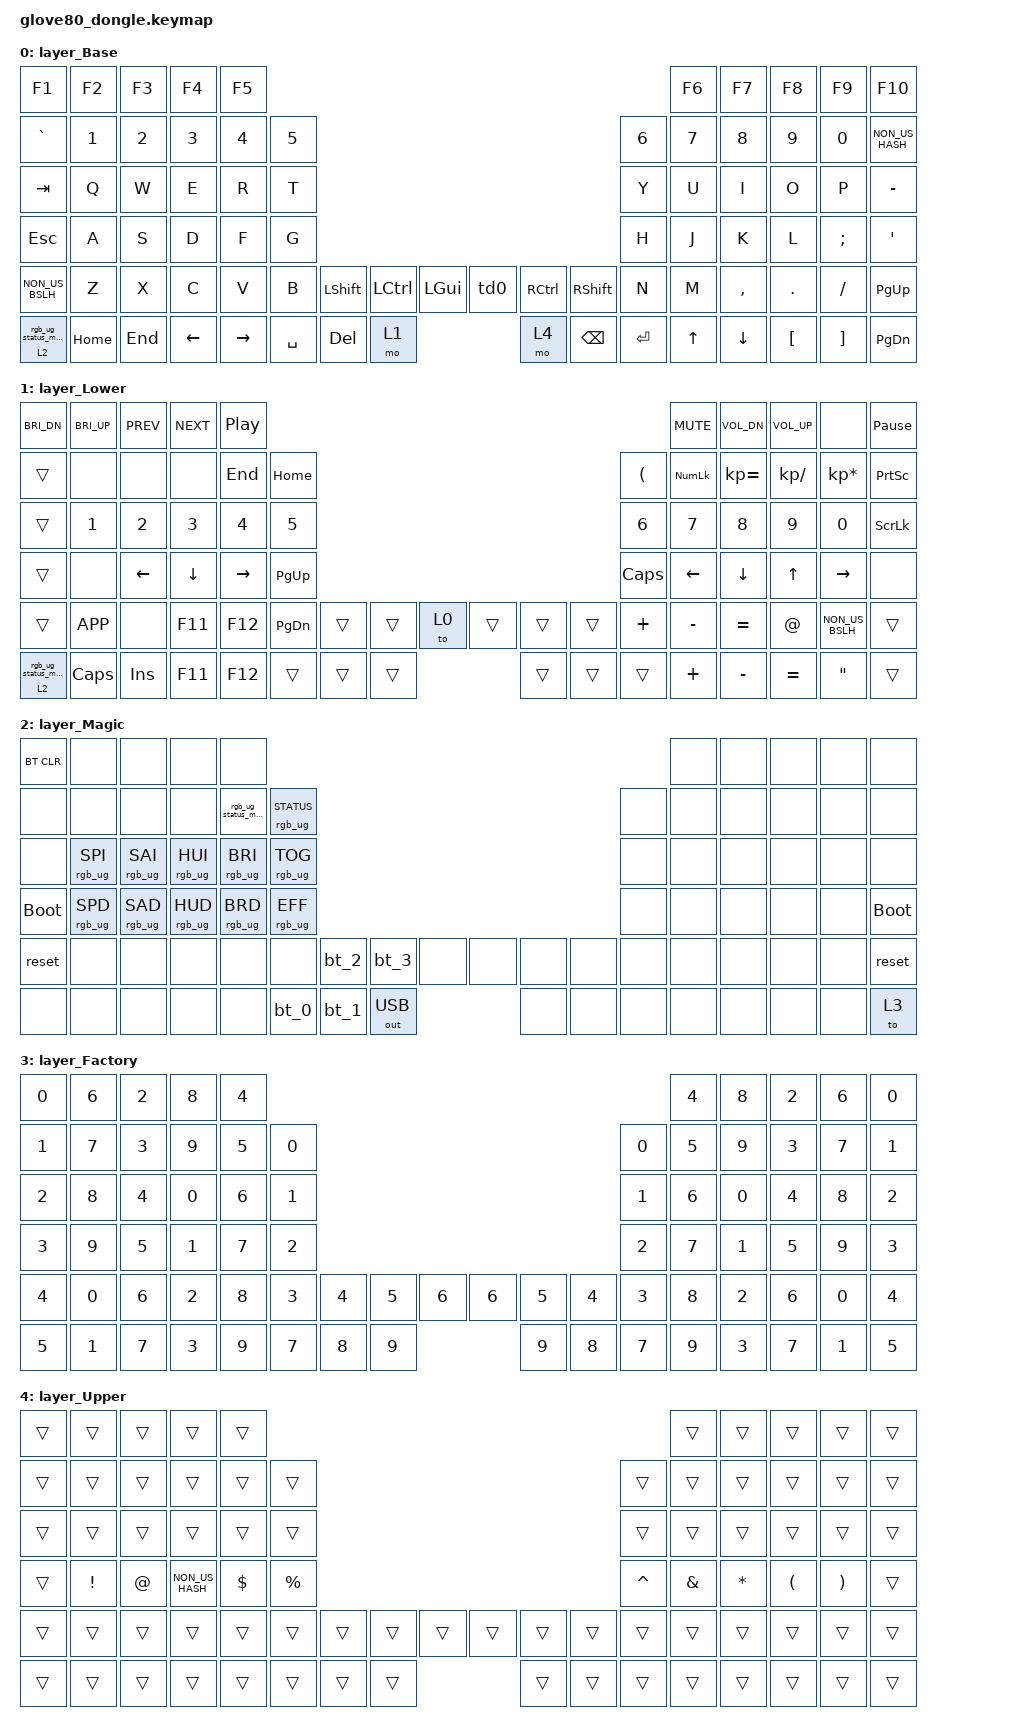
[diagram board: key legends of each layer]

/*
 * Copyright (c) 2020 The ZMK Contributors
 * Copyright (c) 2022 Innaworks Development Limited, trading as MoErgo
 *
 * SPDX-License-Identifier: MIT
 */


/* THIS FILE WAS GENERATED BY GLOVE80 LAYOUT EDITOR
 *
 * This file was generated automatically. You may or may not want to
 * edit it directly.
 */

#include <behaviors.dtsi>
/* Include all behaviour includes needed by system behaviors/macros */
#include <dt-bindings/zmk/outputs.h>

/* Include behaviour includes needed by key binds - automatically generated */
#include <dt-bindings/zmk/keys.h>
#include <dt-bindings/zmk/bt.h>
#include <dt-bindings/zmk/rgb.h>
#include <dt-bindings/zmk/outputs.h>


/ {
    /* Glove80 system behavior & macros */
    behaviors {
        // For the "layer" key, it'd nice to be able to use it as either a shift or a toggle.
        // Configure it as a tap dance, so the first tap (or hold) is a &mo and the second tap is a &to
        lower: tap_dance_0 {
            compatible = "zmk,behavior-tap-dance";
            label = "LAYER_TAP_DANCE";
            #binding-cells = <0>;
            tapping-term-ms = <200>;
            bindings = <&mo 1>, <&to 1>;
        };
    };

    macros {
        rgb_ug_status_macro: rgb_ug_status_macro_0 {
            label = "RGB_UG_STATUS";
            compatible = "zmk,behavior-macro";
            #binding-cells = <0>;
            bindings
                = <&rgb_ug RGB_STATUS>;
        };
    };

    macros {
        bt_0: bt_profile_macro_0 {
            label = "BT_0";
            compatible = "zmk,behavior-macro";
            #binding-cells = <0>;
            bindings
                = <&out OUT_BLE>,
                  <&bt BT_SEL 0>;
        };
    };

    macros {
        bt_1: bt_profile_macro_1 {
            label = "BT_1";
            compatible = "zmk,behavior-macro";
            #binding-cells = <0>;
            bindings
                = <&out OUT_BLE>,
                  <&bt BT_SEL 1>;
        };
    };

    macros {
        bt_2: bt_profile_macro_2 {
            label = "BT_2";
            compatible = "zmk,behavior-macro";
            #binding-cells = <0>;
            bindings
                = <&out OUT_BLE>,
                  <&bt BT_SEL 2>;
        };
    };

    macros {
        bt_3: bt_profile_macro_3 {
            label = "BT_3";
            compatible = "zmk,behavior-macro";
            #binding-cells = <0>;
            bindings
                = <&out OUT_BLE>,
                  <&bt BT_SEL 3>;
        };
    };

    magic: magic_hold_tap {
        compatible = "zmk,behavior-hold-tap";
        label = "MAGIC_HOLD_TAP";
        #binding-cells = <2>;
        flavor = "tap-preferred";
        tapping-term-ms = <200>;
        bindings = <&mo>, <&rgb_ug_status_macro>;
    };

    /* Custom Defined Behaviors */
      ht: hold_tap {
            compatible = "zmk,behavior-hold-tap";
            label = "HOLD_TAP";
            #binding-cells = <2>;
            flavor = "tap-preferred";
            tapping-term-ms = <1100>;
            quick-tap-ms = <1000>;
            bindings = <&kp>, <&kp>;
            };

      td0: tap_dance_0 {
            compatible = "zmk,behavior-tap-dance";
            label = "TAP_DANCE_0";
            #binding-cells = <0>;
            tapping-term-ms = <200>;
            bindings = <&kp LALT>, <&kp RALT>;
        };

    /* Automatically generated keymap */
    keymap {
        compatible = "zmk,keymap";


        layer_Base {
            bindings = <
          &kp F1    &kp F2   &kp F3    &kp F4     &kp F5                                                                                &kp F6     &kp F7    &kp F8    &kp F9          &kp F10
       &kp GRAVE    &kp N1   &kp N2    &kp N3     &kp N4  &kp N5                                                                &kp N6  &kp N7     &kp N8    &kp N9    &kp N0  &kp NON_US_HASH
         &kp TAB     &kp Q    &kp W     &kp E      &kp R   &kp T                                                                 &kp Y   &kp U      &kp I     &kp O     &kp P        &kp MINUS
         &kp ESC     &kp A    &kp S     &kp D      &kp F   &kp G                                                                 &kp H   &kp J      &kp K     &kp L  &kp SEMI          &kp SQT
 &kp NON_US_BSLH     &kp Z    &kp X     &kp C      &kp V   &kp B  &kp LSHFT  &kp LCTRL  &kp LGUI    &td0  &kp RCTRL  &kp RSHFT   &kp N   &kp M  &kp COMMA   &kp DOT  &kp FSLH        &kp PG_UP
      &magic 2 0  &kp HOME  &kp END  &kp LEFT  &kp RIGHT          &kp SPACE    &kp DEL     &mo 1   &mo 4   &kp BSPC    &kp RET          &kp UP   &kp DOWN  &kp LBKT  &kp RBKT        &kp PG_DN
            >;
        };

        layer_Lower {
            bindings = <
 &kp C_BRI_DN  &kp C_BRI_UP      &kp C_PREV      &kp C_NEXT         &kp C_PP                                                                                   &kp C_MUTE  &kp C_VOL_DN  &kp C_VOL_UP            &none  &kp PAUSE_BREAK
       &trans         &none           &none           &none          &kp END   &kp HOME                                                  &kp LEFT_PARENTHESIS  &kp KP_NUM  &kp KP_EQUAL  &kp KP_SLASH  &kp KP_MULTIPLY  &kp PRINTSCREEN
       &trans        &kp N1          &kp N2          &kp N3           &kp N4     &kp N5                                                                &kp N6      &kp N7        &kp N8        &kp N9           &kp N0   &kp SCROLLLOCK
       &trans         &none  &kp LEFT_ARROW  &kp DOWN_ARROW  &kp RIGHT_ARROW  &kp PG_UP                                                              &kp CAPS    &kp LEFT      &kp DOWN        &kp UP        &kp RIGHT            &none
       &trans     &kp K_APP           &none         &kp F11          &kp F12  &kp PG_DN  &trans  &trans   &to 0  &trans  &trans  &trans              &kp PLUS   &kp MINUS     &kp EQUAL        &kp AT  &kp NON_US_BSLH           &trans
   &magic 2 0      &kp CAPS         &kp INS         &kp F11          &kp F12             &trans  &trans  &trans  &trans  &trans  &trans                          &kp PLUS     &kp MINUS     &kp EQUAL          &kp DQT           &trans
            >;
        };

        layer_Magic {
            bindings = <
  &bt BT_CLR            &none            &none            &none            &none                                                                                  &none   &none   &none   &none           &none
       &none            &none            &none            &none            &rgb_ug_status_macro  &rgb_ug RGB_STATUS                                       &none   &none   &none   &none   &none           &none
       &none  &rgb_ug RGB_SPI  &rgb_ug RGB_SAI  &rgb_ug RGB_HUI  &rgb_ug RGB_BRI  &rgb_ug RGB_TOG                                                         &none   &none   &none   &none   &none           &none
 &bootloader  &rgb_ug RGB_SPD  &rgb_ug RGB_SAD  &rgb_ug RGB_HUD  &rgb_ug RGB_BRD  &rgb_ug RGB_EFF                                                         &none   &none   &none   &none   &none     &bootloader
      &reset            &none            &none            &none            &none            &none   &bt_2   &bt_3         &none   &none   &none   &none   &none   &none   &none   &none   &none          &reset
       &none            &none            &none            &none            &none                    &bt_0   &bt_1  &out OUT_USB   &none   &none   &none           &none   &none   &none   &none           &to 3
            >;
        };

        layer_Factory {
            bindings = <
 &kp NUMBER_0  &kp NUMBER_6  &kp NUMBER_2  &kp NUMBER_8  &kp NUMBER_4                                                                                                                  &kp NUMBER_4  &kp NUMBER_8  &kp NUMBER_2  &kp NUMBER_6  &kp NUMBER_0
 &kp NUMBER_1  &kp NUMBER_7  &kp NUMBER_3  &kp NUMBER_9  &kp NUMBER_5  &kp NUMBER_0                                                                                      &kp NUMBER_0  &kp NUMBER_5  &kp NUMBER_9  &kp NUMBER_3  &kp NUMBER_7  &kp NUMBER_1
 &kp NUMBER_2  &kp NUMBER_8  &kp NUMBER_4  &kp NUMBER_0  &kp NUMBER_6  &kp NUMBER_1                                                                                      &kp NUMBER_1  &kp NUMBER_6  &kp NUMBER_0  &kp NUMBER_4  &kp NUMBER_8  &kp NUMBER_2
 &kp NUMBER_3  &kp NUMBER_9  &kp NUMBER_5  &kp NUMBER_1  &kp NUMBER_7  &kp NUMBER_2                                                                                      &kp NUMBER_2  &kp NUMBER_7  &kp NUMBER_1  &kp NUMBER_5  &kp NUMBER_9  &kp NUMBER_3
 &kp NUMBER_4  &kp NUMBER_0  &kp NUMBER_6  &kp NUMBER_2  &kp NUMBER_8  &kp NUMBER_3  &kp NUMBER_4  &kp NUMBER_5  &kp NUMBER_6  &kp NUMBER_6  &kp NUMBER_5  &kp NUMBER_4  &kp NUMBER_3  &kp NUMBER_8  &kp NUMBER_2  &kp NUMBER_6  &kp NUMBER_0  &kp NUMBER_4
 &kp NUMBER_5  &kp NUMBER_1  &kp NUMBER_7  &kp NUMBER_3  &kp NUMBER_9                &kp NUMBER_7  &kp NUMBER_8  &kp NUMBER_9  &kp NUMBER_9  &kp NUMBER_8  &kp NUMBER_7                &kp NUMBER_9  &kp NUMBER_3  &kp NUMBER_7  &kp NUMBER_1  &kp NUMBER_5
            >;
        };

        layer_Upper {
            bindings = <
 &trans    &trans  &trans           &trans    &trans                                                                          &trans    &trans    &trans    &trans  &trans
 &trans    &trans  &trans           &trans    &trans     &trans                                                     &trans    &trans    &trans    &trans    &trans  &trans
 &trans    &trans  &trans           &trans    &trans     &trans                                                     &trans    &trans    &trans    &trans    &trans  &trans
 &trans  &kp EXCL  &kp AT  &kp NON_US_HASH  &kp DLLR  &kp PRCNT                                                  &kp CARET  &kp AMPS  &kp STAR  &kp LPAR  &kp RPAR  &trans
 &trans    &trans  &trans           &trans    &trans     &trans  &trans  &trans  &trans  &trans  &trans  &trans     &trans    &trans    &trans    &trans    &trans  &trans
 &trans    &trans  &trans           &trans    &trans             &trans  &trans  &trans  &trans  &trans  &trans               &trans    &trans    &trans    &trans  &trans
            >;
        };

    };
};
